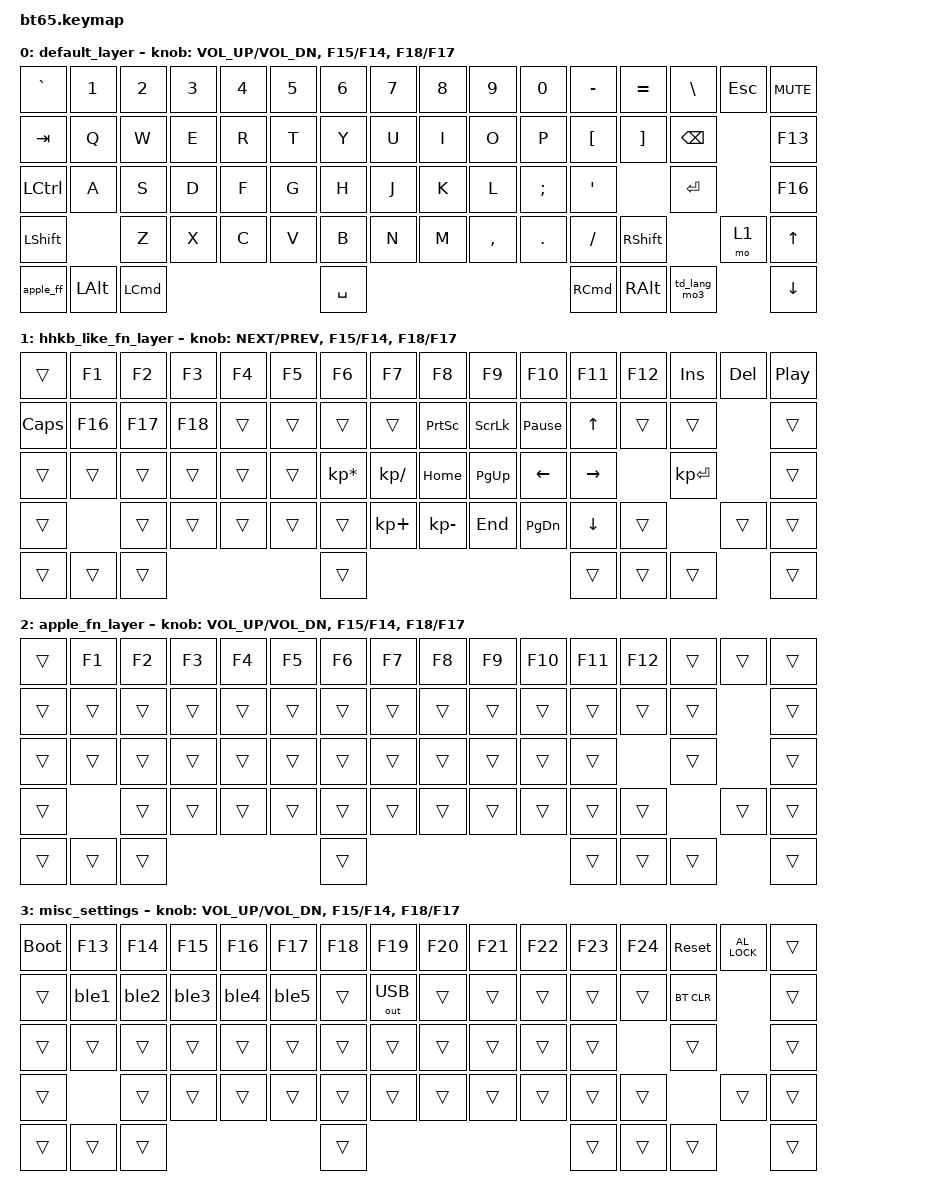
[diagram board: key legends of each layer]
#include <behaviors.dtsi>
#include <dt-bindings/zmk/keys.h>
#include <dt-bindings/zmk/bt.h>
#include <dt-bindings/zmk/outputs.h>

/ {
  macros {
    apple_ff: apple_ff {
      label = "apple_ff";
      compatible = "zmk,behavior-macro";
      #binding-cells = <0>;
      bindings
      = <&macro_press &mo 2 &kp APPLE_FN>
      , <&macro_pause_for_release>
      , <&macro_release &mo 2 &kp APPLE_FN>
      ;
    };
    ble1: ble1 {
      label = "ble1";
      compatible = "zmk,behavior-macro";
      #binding-cells = <0>;
      bindings
      = <&macro_press &out OUT_BLE>
      , <&macro_press &bt BT_SEL 0>
      , <&macro_pause_for_release>
      , <&macro_release &out OUT_BLE>
      , <&macro_release &bt BT_SEL 0>
      ;
    };
    ble2: ble2 {
      label = "ble2";
      compatible = "zmk,behavior-macro";
      #binding-cells = <0>;
      bindings
      = <&macro_press &out OUT_BLE>
      , <&macro_press &bt BT_SEL 1>
      , <&macro_pause_for_release>
      , <&macro_release &out OUT_BLE>
      , <&macro_release &bt BT_SEL 1>
      ;
    };
    ble3: ble3 {
      label = "ble3";
      compatible = "zmk,behavior-macro";
      #binding-cells = <0>;
      bindings
      = <&macro_press &out OUT_BLE>
      , <&macro_press &bt BT_SEL 2>
      , <&macro_pause_for_release>
      , <&macro_release &out OUT_BLE>
      , <&macro_release &bt BT_SEL 2>
      ;
    };
    ble4: ble4 {
      label = "ble4";
      compatible = "zmk,behavior-macro";
      #binding-cells = <0>;
      bindings
      = <&macro_press &out OUT_BLE>
      , <&macro_press &bt BT_SEL 3>
      , <&macro_pause_for_release>
      , <&macro_release &out OUT_BLE>
      , <&macro_release &bt BT_SEL 3>
      ;
    };
    ble5: ble5 {
      label = "ble5";
      compatible = "zmk,behavior-macro";
      #binding-cells = <0>;
      bindings
      = <&macro_press &out OUT_BLE>
      , <&macro_press &bt BT_SEL 4>
      , <&macro_pause_for_release>
      , <&macro_release &out OUT_BLE>
      , <&macro_release &bt BT_SEL 4>
      ;
    };
  };
  behaviors {
    // single tap -> LANG2(英数)
    // double tap -> LANG1(かな)
    // double hold -> &mo 3
    td_lang_mo3: td_lang_mo3 {
      compatible = "zmk,behavior-tap-dance";
      label = "td_lang_mo3";
      #binding-cells = <0>;
      tapping-term-ms = <200>;
      bindings = <&kp LANG2>, <&lt 3 LANG1>;
    };
  };
  keymap {
    compatible = "zmk,keymap";
    default_layer {
        // --------------------------------------------------------------------------------------------------
        // |  `  |  1  |  2  |  3  |  4  |  5  |  6  |  7  |  8  |  9  |  0  |  -  |  =  |  \  | ESC | EC11 |
        // --------------------------------------------------------------------------------------------------
        // | TAB    |  Q  |  W  |  E  |  R  |  T  |  Y  |  U  |  I  |  O  |  P  |  [  |  ]  | Bkspc  | EC11 |
        // --------------------------------------------------------------------------------------------------
        // | CAPS     |  A  |  S  |  D  |  F  |  G  |  H  |  J  |  K  |  L  |  ;  |  '  |     ENTER  | EC11 |
        // -------------------------------------------------------------------------------------------------
        // |  SHIFT     |  Z  |  X  |  C  |  V  |  B  |  N  |  M  |  ,  |  .  |  /  |  SHIFT   | MO1 |  x1  |
        // --------------------------------------------------------------------------------------------------
        // |apple_fn| Opt |  Cmd  |            SPACE                         |  Cmd   | Opt | Menu   |  x2  |
        // --------------------------------------------------------------------------------------------------
     bindings = <
        &kp GRAVE  &kp N1    &kp N2    &kp N3  &kp N4  &kp N5  &kp N6  &kp N7  &kp N8   &kp N9     &kp N0    &kp MINUS  &kp EQUAL  &kp BSLH  &kp ESC  &kp C_MUTE
        &kp TAB    &kp Q     &kp W     &kp E   &kp R   &kp T   &kp Y   &kp U   &kp I    &kp O      &kp P     &kp LBKT   &kp RBKT   &kp BSPC           &kp F13
        &kp LCTRL  &kp A     &kp S     &kp D   &kp F   &kp G   &kp H   &kp J   &kp K    &kp L      &kp SEMI  &kp SQT               &kp RET            &kp F16
        &kp LSHFT            &kp Z     &kp X   &kp C   &kp V   &kp B   &kp N   &kp M    &kp COMMA  &kp DOT   &kp FSLH   &kp RSHIFT           &mo 1    &kp UP
        &apple_ff  &kp LALT  &kp LCMD                          &kp SPACE                                     &kp RCMD   &kp RALT   &td_lang_mo3       &kp DOWN
      >;
      sensor-bindings = <&inc_dec_kp C_VOL_UP C_VOL_DN &inc_dec_kp F15 F14 &inc_dec_kp F18 F17>;
    };
    hhkb_like_fn_layer {
      bindings = <
        &trans    &kp F1   &kp F2   &kp F3   &kp F4  &kp F5   &kp F6           &kp F7         &kp F8        &kp F9     &kp F10          &kp F11   &kp F12  &kp INS  &kp DEL  &kp C_PP
        &kp CAPS  &kp F16  &kp F17  &kp F18  &trans  &trans   &trans           &trans         &kp PSCRN     &kp SLCK   &kp PAUSE_BREAK  &kp UP    &trans   &trans            &trans
        &trans    &trans   &trans   &trans   &trans  &trans   &kp KP_MULTIPLY  &kp KP_DIVIDE  &kp HOME      &kp PG_UP  &kp LEFT         &kp RIGHT          &kp KP_ENTER      &trans
        &trans             &trans   &trans   &trans  &trans   &trans           &kp KP_PLUS    &kp KP_MINUS  &kp END    &kp PG_DN        &kp DOWN  &trans            &trans   &trans
        &trans    &trans   &trans                             &trans                                                                    &trans    &trans   &trans            &trans
      >;
      sensor-bindings = <&inc_dec_kp C_NEXT C_PREV &inc_dec_kp F15 F14 &inc_dec_kp F18 F17>;
    };
    apple_fn_layer {
      bindings = <
        &trans  &kp F1  &kp F2  &kp F3  &kp F4  &kp F5  &kp F6  &kp F7  &kp F8  &kp F9  &kp F10  &kp F11  &kp F12  &trans  &trans  &trans
        &trans  &trans  &trans  &trans  &trans  &trans  &trans  &trans  &trans  &trans  &trans   &trans   &trans   &trans          &trans
        &trans  &trans  &trans  &trans  &trans  &trans  &trans  &trans  &trans  &trans  &trans   &trans            &trans          &trans
        &trans          &trans  &trans  &trans  &trans  &trans  &trans  &trans  &trans  &trans   &trans   &trans           &trans  &trans
        &trans  &trans  &trans                          &trans                                   &trans   &trans   &trans          &trans
      >;
      sensor-bindings = <&inc_dec_kp C_VOL_UP C_VOL_DN &inc_dec_kp F15 F14 &inc_dec_kp F18 F17>;
    };
    misc_settings {
      bindings = <
        &bootloader  &kp F13  &kp F14  &kp F15  &kp F16  &kp F17  &kp F18  &kp F19       &kp F20  &kp F21  &kp F22  &kp F23  &kp F24  &sys_reset  &kp C_AL_LOCK  &trans
        &trans       &ble1    &ble2    &ble3    &ble4    &ble5    &trans   &out OUT_USB  &trans   &trans   &trans   &trans   &trans   &bt BT_CLR                 &trans
        &trans       &trans   &trans   &trans   &trans   &trans   &trans   &trans        &trans   &trans   &trans   &trans            &trans                     &trans
        &trans                &trans   &trans   &trans   &trans   &trans   &trans        &trans   &trans   &trans   &trans   &trans               &trans         &trans
        &trans       &trans   &trans                              &trans                                            &trans   &trans   &trans                     &trans
      >;
      sensor-bindings = <&inc_dec_kp C_VOL_UP C_VOL_DN &inc_dec_kp F15 F14 &inc_dec_kp F18 F17>;
    };
  };
};
